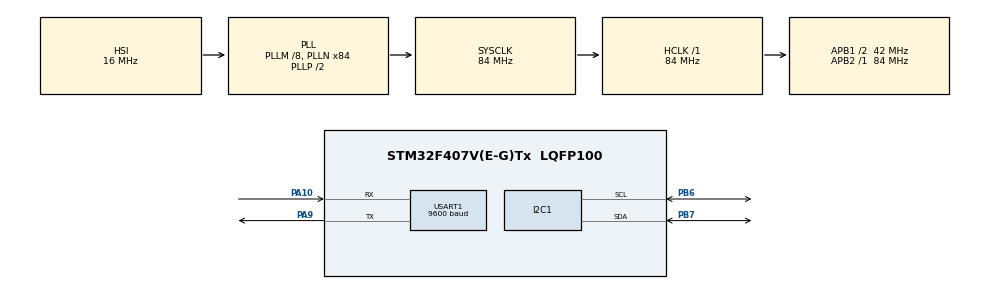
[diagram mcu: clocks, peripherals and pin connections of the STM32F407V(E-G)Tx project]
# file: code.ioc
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Mcu.Family=STM32F4
Mcu.Name=STM32F407V(E-G)Tx
Mcu.Package=LQFP100
NVIC.PriorityGroup=NVIC_PRIORITYGROUP_4
PA10.Mode=Asynchronous
PA10.Signal=USART1_RX
PA13.Mode=Serial_Wire
PA13.Signal=SYS_JTMS-SWDIO
PA14.Mode=Serial_Wire
PA14.Signal=SYS_JTCK-SWCLK
PA9.Mode=Asynchronous
PA9.Signal=USART1_TX
PB6.Mode=I2C
PB6.Signal=I2C1_SCL
PB7.Mode=I2C
PB7.Signal=I2C1_SDA
PH0-OSC_IN.Mode=HSE-External-Oscillator
PH0-OSC_IN.Signal=RCC_OSC_IN
PH1-OSC_OUT.Mode=HSE-External-Oscillator
PH1-OSC_OUT.Signal=RCC_OSC_OUT
ProjectManager.HeapSize=0x200
ProjectManager.StackSize=0x400
ProjectManager.TargetToolchain=MDK-ARM V5.27
RCC.48MHZClocksFreq_Value=42000000
RCC.AHBFreq_Value=84000000
RCC.APB1CLKDivider=RCC_HCLK_DIV2
RCC.APB1Freq_Value=42000000
RCC.APB1TimFreq_Value=84000000
RCC.APB2Freq_Value=84000000
RCC.APB2TimFreq_Value=84000000
RCC.CortexFreq_Value=84000000
RCC.HCLKFreq_Value=84000000
RCC.HSE_VALUE=8000000
RCC.HSI_VALUE=16000000
RCC.LSE_VALUE=32768
RCC.PLLM=8
RCC.PLLN=84
RCC.SYSCLKFreq_VALUE=84000000
RCC.SYSCLKSource=RCC_SYSCLKSOURCE_PLLCLK
RCC.VCOOutputFreq_Value=168000000
USART1.BaudRate=9600
USART1.VirtualMode=VM_ASYNC
board=custom

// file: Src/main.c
/* USER CODE BEGIN Header */
/**
  ******************************************************************************
  * @file           : main.c
  * @brief          : Main program body
  ******************************************************************************
  * @attention
  *
  * <h2><center>&copy; Copyright (c) 2020 STMicroelectronics.
  * All rights reserved.</center></h2>
  *
  * This software component is licensed by ST under BSD 3-Clause license,
  * the "License"; You may not use this file except in compliance with the
  * License. You may obtain a copy of the License at:
  *                        opensource.org/licenses/BSD-3-Clause
  *
  ******************************************************************************
  */
/* USER CODE END Header */

#include "main.h"
#include "i2c.h"
#include "usart.h"
#include "gpio.h"

/* USER CODE BEGIN Includes */
#include "sd_hal_mpu6050.h"
/* USER CODE END Includes */

/* USER CODE BEGIN PV */
	SD_MPU6050 mpu1;
/* USER CODE END PV */

void SystemClock_Config(void);

int main(void)
{
  /* USER CODE BEGIN 1 */
	uint8_t msg[] = "mpu6050 inited!\n";
	SD_MPU6050_Result result;
  /* USER CODE END 1 */

  /* MCU Configuration--------------------------------------------------------*/

  /* Reset of all peripherals, Initializes the Flash interface and the Systick. */
  HAL_Init();

  /* Configure the system clock */
  SystemClock_Config();

  /* Initialize all configured peripherals */
  MX_GPIO_Init();
  MX_USART1_UART_Init();
  MX_I2C1_Init();
  /* USER CODE BEGIN 2 */
	HAL_UART_Transmit(&huart1,msg,sizeof(msg),0xFFFF);

  /* USER CODE END 2 */

  /* Infinite loop */
  while (1)
  {

    /* USER CODE BEGIN 3 */
		result = SD_MPU6050_Init(&hi2c1,&mpu1,SD_MPU6050_Device_0,SD_MPU6050_Accelerometer_2G,SD_MPU6050_Gyroscope_250s );

		while(result != SD_MPU6050_Result_Ok);
		HAL_UART_Transmit(&huart1, msg, sizeof(msg), 0xFFFF);
		HAL_Delay(1000);
		SD_MPU6050_ReadTemperature(&hi2c1,&mpu1);
	  float temper = mpu1.Temperature;
	  SD_MPU6050_ReadGyroscope(&hi2c1,&mpu1);
	  int16_t g_x = mpu1.Gyroscope_X;
	  int16_t g_y = mpu1.Gyroscope_Y;
	  int16_t g_z = mpu1.Gyroscope_Z;
	  SD_MPU6050_ReadAccelerometer(&hi2c1,&mpu1);
	  int16_t a_x = mpu1.Accelerometer_X;
	  int16_t a_y = mpu1.Accelerometer_Y;
	  int16_t a_z = mpu1.Accelerometer_Z;
		HAL_UART_Transmit(&huart1,(uint8_t *)(&a_x),sizeof(a_x),0xFFFF);
		HAL_Delay(500);
  }
  /* USER CODE END 3 */
}

void SystemClock_Config(void)
{
  RCC_OscInitTypeDef RCC_OscInitStruct = {0};
  RCC_ClkInitTypeDef RCC_ClkInitStruct = {0};

  /** Configure the main internal regulator output voltage
  */
  __HAL_RCC_PWR_CLK_ENABLE();
  __HAL_PWR_VOLTAGESCALING_CONFIG(PWR_REGULATOR_VOLTAGE_SCALE1);
  /** Initializes the CPU, AHB and APB busses clocks
  */
  RCC_OscInitStruct.OscillatorType = RCC_OSCILLATORTYPE_HSI;
  RCC_OscInitStruct.HSIState = RCC_HSI_ON;
  RCC_OscInitStruct.HSICalibrationValue = RCC_HSICALIBRATION_DEFAULT;
  RCC_OscInitStruct.PLL.PLLState = RCC_PLL_ON;
  RCC_OscInitStruct.PLL.PLLSource = RCC_PLLSOURCE_HSI;
  RCC_OscInitStruct.PLL.PLLM = 8;
  RCC_OscInitStruct.PLL.PLLN = 84;
  RCC_OscInitStruct.PLL.PLLP = RCC_PLLP_DIV2;
  RCC_OscInitStruct.PLL.PLLQ = 4;
  if (HAL_RCC_OscConfig(&RCC_OscInitStruct) != HAL_OK)
  {
    Error_Handler();
  }
  /** Initializes the CPU, AHB and APB busses clocks
  */
  RCC_ClkInitStruct.ClockType = RCC_CLOCKTYPE_HCLK|RCC_CLOCKTYPE_SYSCLK
                              |RCC_CLOCKTYPE_PCLK1|RCC_CLOCKTYPE_PCLK2;
  RCC_ClkInitStruct.SYSCLKSource = RCC_SYSCLKSOURCE_PLLCLK;
  RCC_ClkInitStruct.AHBCLKDivider = RCC_SYSCLK_DIV1;
  RCC_ClkInitStruct.APB1CLKDivider = RCC_HCLK_DIV2;
  RCC_ClkInitStruct.APB2CLKDivider = RCC_HCLK_DIV1;

  if (HAL_RCC_ClockConfig(&RCC_ClkInitStruct, FLASH_LATENCY_2) != HAL_OK)
  {
    Error_Handler();
  }
}

void Error_Handler(void)
{
}

/************************ (C) COPYRIGHT STMicroelectronics *****END OF FILE****/
